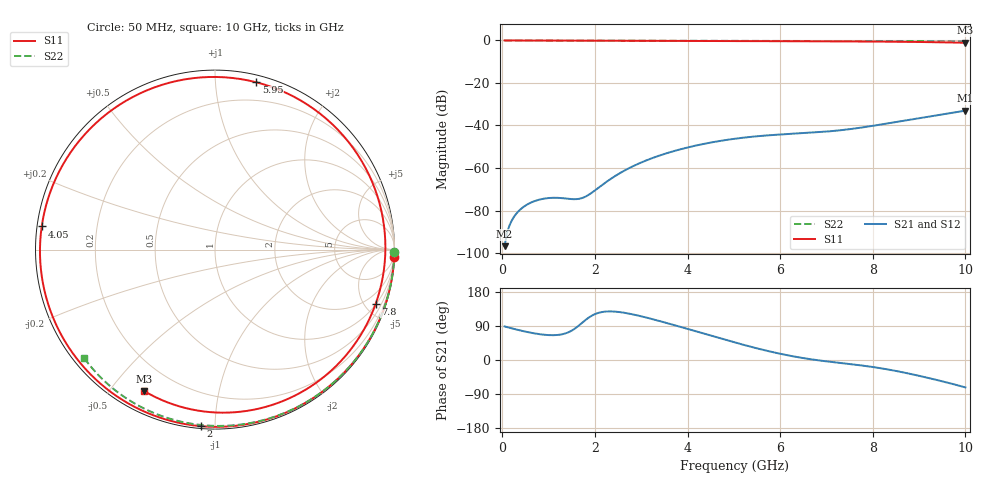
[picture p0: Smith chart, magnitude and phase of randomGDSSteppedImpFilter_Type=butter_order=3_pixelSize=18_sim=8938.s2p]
! freq	dB(S11)	phase(S11)	dB(S12)	phase(S12)
!  dB(S21)	phase(S21)	dB(S22)	phase(S22)
!S-par simulation data
#  GHz  S  DB  R 50
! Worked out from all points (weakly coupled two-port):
!   200 points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, 50 MHz to 10 GHz, reference 50 ohm
!   highest |S21| = -33.01 dB at 10 GHz (marker M1); lowest = -96.8 dB at 50 MHz (marker M2)
!   lowest |S11| = -1.1 dB at 10 GHz (marker M3), VSWR 15.85, Z = 4.35 - j30.7 ohm
!   |S11| at or under -10 dB: nowhere
!   |S22| runs from -0.5 to 0.0 dB; largest |S21 - S12| = 0
!   S11 on the Smith chart (normalised r, x): 50 MHz: 0, -46; 2 GHz: 0.01, -0.92; 4.05 GHz: 0.01, +0.07; 5.95 GHz: 0.05, +1.28; 7.8 GHz: 1.04, -5.87; 10 GHz: 0.09, -0.61
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0.05  -0.00 -2.5  -96.76 88.5  -96.76 88.5  -0.00 -0.8
0.35  -0.02 -17.1  -80.33 79.0  -80.33 79.0  -0.01 -5.7
0.65  -0.04 -31.5  -75.97 71.2  -75.97 71.2  -0.01 -10.5
1  -0.06 -48.2  -74.11 65.7  -74.11 65.7  -0.02 -16.2
1.75  -0.10 -83.2  -73.90 100.8  -73.90 100.8  -0.04 -28.1
2  -0.11 -94.6  -70.55 121.0  -70.55 121.0  -0.04 -32.0
2.65  -0.15 -123.9  -61.06 124.3  -61.06 124.3  -0.05 -42.1
3.4  -0.19 -157.6  -54.09 102.7  -54.09 102.7  -0.07 -53.4
4.05  -0.23 172.4  -50.08 80.3  -50.08 80.3  -0.09 -62.9
4.55  -0.26 148.4  -47.82 62.7  -47.82 62.7  -0.10 -70.1
5.05  -0.30 123.4  -46.14 45.4  -46.14 45.4  -0.12 -77.1
5.5  -0.33 100.0  -45.07 30.8  -45.07 30.8  -0.14 -83.3
5.95  -0.35 76.2  -44.31 17.8  -44.31 17.8  -0.15 -89.4
6.3  -0.37 57.5  -43.85 9.2  -43.85 9.2  -0.17 -94.0
6.7  -0.40 36.3  -43.34 1.3  -43.34 1.3  -0.19 -99.2
7.25  -0.44 8.0  -42.35 -7.1  -42.35 -7.1  -0.23 -106.3
7.8  -0.49 -18.8  -40.83 -15.1  -40.83 -15.1  -0.26 -113.3
8.35  -0.58 -44.0  -38.89 -25.5  -38.89 -25.5  -0.31 -120.1
8.8  -0.67 -63.7  -37.25 -36.3  -37.25 -36.3  -0.35 -125.7
9.2  -0.78 -80.9  -35.83 -47.4  -35.83 -47.4  -0.39 -130.6
9.6  -0.92 -98.3  -34.44 -59.3  -34.44 -59.3  -0.43 -135.5
10  -1.10 -116.5  -33.01 -72.3  -33.01 -72.3  -0.47 -140.4
